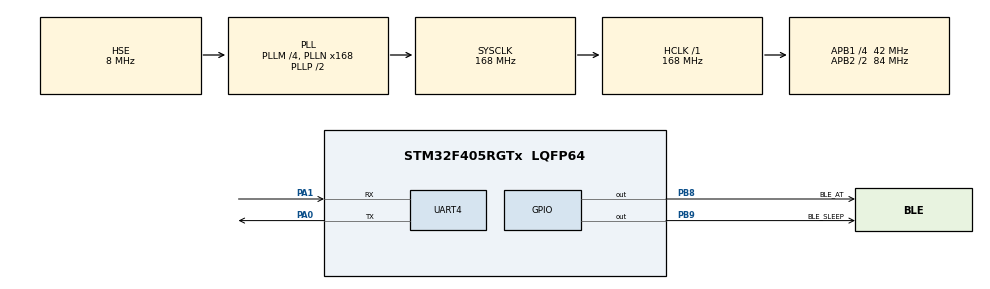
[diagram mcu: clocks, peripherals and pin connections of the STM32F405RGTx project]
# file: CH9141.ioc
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Mcu.Family=STM32F4
Mcu.Name=STM32F405RGTx
Mcu.Package=LQFP64
NVIC.PriorityGroup=NVIC_PRIORITYGROUP_4
PA0-WKUP.Mode=Asynchronous
PA0-WKUP.Signal=UART4_TX
PA1.Mode=Asynchronous
PA1.Signal=UART4_RX
PA13.Mode=Serial_Wire
PA13.Signal=SYS_JTMS-SWDIO
PA14.Mode=Serial_Wire
PA14.Signal=SYS_JTCK-SWCLK
PB8.GPIO_Label=BLE_AT
PB8.GPIO_ModeDefaultOutputPP=GPIO_MODE_OUTPUT_OD
PB8.GPIO_PuPd=GPIO_PULLUP
PB8.GPIO_Speed=GPIO_SPEED_FREQ_VERY_HIGH
PB8.Signal=GPIO_Output
PB9.GPIO_Label=BLE_SLEEP
PB9.GPIO_ModeDefaultOutputPP=GPIO_MODE_OUTPUT_OD
PB9.GPIO_PuPd=GPIO_PULLUP
PB9.GPIO_Speed=GPIO_SPEED_FREQ_VERY_HIGH
PB9.Signal=GPIO_Output
PH0-OSC_IN.Mode=HSE-External-Oscillator
PH0-OSC_IN.Signal=RCC_OSC_IN
PH1-OSC_OUT.Mode=HSE-External-Oscillator
PH1-OSC_OUT.Signal=RCC_OSC_OUT
ProjectManager.HeapSize=0x200
ProjectManager.StackSize=0x400
ProjectManager.TargetToolchain=EWARM V8.50
RCC.48MHZClocksFreq_Value=84000000
RCC.AHBFreq_Value=168000000
RCC.APB1CLKDivider=RCC_HCLK_DIV4
RCC.APB1Freq_Value=42000000
RCC.APB1TimFreq_Value=84000000
RCC.APB2CLKDivider=RCC_HCLK_DIV2
RCC.APB2Freq_Value=84000000
RCC.APB2TimFreq_Value=168000000
RCC.CortexFreq_Value=168000000
RCC.HCLKFreq_Value=168000000
RCC.HSE_VALUE=8000000
RCC.HSI_VALUE=16000000
RCC.LSE_VALUE=32768
RCC.PLLM=4
RCC.PLLN=168
RCC.PLLSourceVirtual=RCC_PLLSOURCE_HSE
RCC.SYSCLKFreq_VALUE=168000000
RCC.SYSCLKSource=RCC_SYSCLKSOURCE_PLLCLK
RCC.VCOOutputFreq_Value=336000000
UART4.VirtualMode=Asynchronous
board=custom

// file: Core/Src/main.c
/* USER CODE BEGIN Header */
/**
 ******************************************************************************
 * @file           : main.c
 * @brief          : Main program body
 ******************************************************************************
 * @attention
 *
 * Copyright (c) 2024 STMicroelectronics.
 * All rights reserved.
 *
 * This software is licensed under terms that can be found in the LICENSE file
 * in the root directory of this software component.
 * If no LICENSE file comes with this software, it is provided AS-IS.
 *
 ******************************************************************************
 */
/* USER CODE END Header */
#include "main.h"
#include "usart.h"
#include "gpio.h"

/* USER CODE BEGIN Includes */
#include "ch9141.h"
/* USER CODE END Includes */

/* USER CODE BEGIN PV */
ch9141_t ble1;
/* USER CODE END PV */

void SystemClock_Config(void);

int main(void)
{

  /* MCU Configuration--------------------------------------------------------*/

  /* Reset of all peripherals, Initializes the Flash interface and the Systick. */
  HAL_Init();

  /* Configure the system clock */
  SystemClock_Config();

  /* Initialize all configured peripherals */
  MX_GPIO_Init();
  MX_UART4_Init();
  /* USER CODE BEGIN 2 */
    CH9141_Link(&ble1, CH9141_UART1_Receive, CH9141_UART1_Transmit, CH9141_Pin_Sleep1, CH9141_Pin_Mode1, CH9141_Delay);
    ble1.mode = CH9141_MODE_DEVICE;
    CH9141_Init(&ble1);
    strcpy(ble1.password, "000000");
    CH9141_PasswordSet(&ble1, CH9141_FUNC_ENABLE);
    CH9141_PasswordGet(&ble1);
  /* USER CODE END 2 */

  /* Infinite loop */
  /* USER CODE BEGIN WHILE */
    while (1)
    {
        char BLE_Msg[4];

        HAL_UART_Receive_IT(&huart4, (uint8_t *) BLE_Msg, sizeof(BLE_Msg));
        if (memcmp(BLE_Msg, "LEDR", 4) == 0)
        {
            LEDR_ON, LEDG_OFF, LEDB_OFF;
            HAL_UART_Transmit_IT(&huart4, "OK Red", 6);
            memset(BLE_Msg, '\0', sizeof(BLE_Msg));
        }
        else if (memcmp(BLE_Msg, "LEDG", 4) == 0)
        {
            LEDR_OFF, LEDG_ON, LEDB_OFF;
            HAL_UART_Transmit_IT(&huart4, "OK Green", 8);
            memset(BLE_Msg, '\0', sizeof(BLE_Msg));
        }
        else if (memcmp(BLE_Msg, "LEDB", 4) == 0)
        {
            LEDR_OFF, LEDG_OFF, LEDB_ON;
            HAL_UART_Transmit_IT(&huart4, "OK Blue", 7);
            memset(BLE_Msg, '\0', sizeof(BLE_Msg));
        }
        else if (memcmp(BLE_Msg, "DISA", 4) == 0)
        {
            LEDR_OFF, LEDG_OFF, LEDB_OFF;
            HAL_UART_Transmit_IT(&huart4, "OK Disable", 10);
            memset(BLE_Msg, '\0', sizeof(BLE_Msg));
        }

        if (BTN_CHECK == GPIO_PIN_RESET)
            PWR_OFF;
    /* USER CODE END WHILE */

    }
}

void SystemClock_Config(void)
{
  RCC_OscInitTypeDef RCC_OscInitStruct = {0};
  RCC_ClkInitTypeDef RCC_ClkInitStruct = {0};

  /** Configure the main internal regulator output voltage
  */
  __HAL_RCC_PWR_CLK_ENABLE();
  __HAL_PWR_VOLTAGESCALING_CONFIG(PWR_REGULATOR_VOLTAGE_SCALE1);

  /** Initializes the RCC Oscillators according to the specified parameters
  * in the RCC_OscInitTypeDef structure.
  */
  RCC_OscInitStruct.OscillatorType = RCC_OSCILLATORTYPE_HSE;
  RCC_OscInitStruct.HSEState = RCC_HSE_ON;
  RCC_OscInitStruct.PLL.PLLState = RCC_PLL_ON;
  RCC_OscInitStruct.PLL.PLLSource = RCC_PLLSOURCE_HSE;
  RCC_OscInitStruct.PLL.PLLM = 4;
  RCC_OscInitStruct.PLL.PLLN = 168;
  RCC_OscInitStruct.PLL.PLLP = RCC_PLLP_DIV2;
  RCC_OscInitStruct.PLL.PLLQ = 4;
  if (HAL_RCC_OscConfig(&RCC_OscInitStruct) != HAL_OK)
  {
    Error_Handler();
  }

  /** Initializes the CPU, AHB and APB buses clocks
  */
  RCC_ClkInitStruct.ClockType = RCC_CLOCKTYPE_HCLK|RCC_CLOCKTYPE_SYSCLK
                              |RCC_CLOCKTYPE_PCLK1|RCC_CLOCKTYPE_PCLK2;
  RCC_ClkInitStruct.SYSCLKSource = RCC_SYSCLKSOURCE_PLLCLK;
  RCC_ClkInitStruct.AHBCLKDivider = RCC_SYSCLK_DIV1;
  RCC_ClkInitStruct.APB1CLKDivider = RCC_HCLK_DIV4;
  RCC_ClkInitStruct.APB2CLKDivider = RCC_HCLK_DIV2;

  if (HAL_RCC_ClockConfig(&RCC_ClkInitStruct, FLASH_LATENCY_5) != HAL_OK)
  {
    Error_Handler();
  }
}

void Error_Handler(void)
{
    __disable_irq();
    while (1) {}
}
